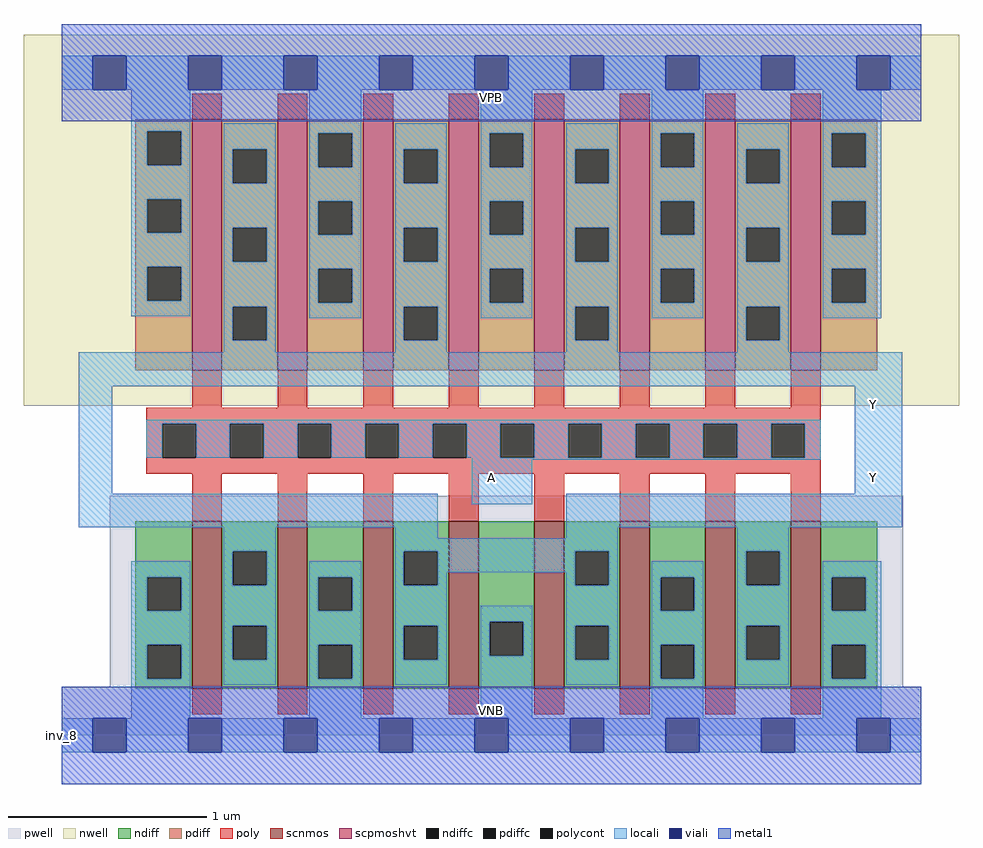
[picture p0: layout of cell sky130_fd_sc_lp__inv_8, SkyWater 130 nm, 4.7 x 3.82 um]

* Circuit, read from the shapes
.subckt sky130_fd_sc_lp__inv_8 A VGND VNB VPB VPWR Y
XM1 Y A VGND VNB sky130_fd_pr__nfet_01v8 w=0.84 l=0.15 m=8
XM2 Y A VPWR VPB sky130_fd_pr__pfet_01v8_hvt w=1.26 l=0.15 m=8
.ends

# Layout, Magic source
magic
tech sky130A
magscale 1 2
<< nwell >>
rect -38 331 902 704
<< pwell >>
rect 48 49 846 241
rect 0 0 864 49
<< scnmos >>
rect 131 47 161 215
rect 217 47 247 215
rect 303 47 333 215
rect 389 47 419 215
rect 475 47 505 215
rect 561 47 591 215
rect 647 47 677 215
rect 733 47 763 215
<< scpmoshvt >>
rect 131 367 161 619
rect 217 367 247 619
rect 303 367 333 619
rect 389 367 419 619
rect 475 367 505 619
rect 561 367 591 619
rect 647 367 677 619
rect 733 367 763 619
<< ndiff >>
rect 74 159 131 215
rect 74 125 86 159
rect 120 125 131 159
rect 74 91 131 125
rect 74 57 86 91
rect 120 57 131 91
rect 74 47 131 57
rect 161 185 217 215
rect 161 151 172 185
rect 206 151 217 185
rect 161 110 217 151
rect 161 76 172 110
rect 206 76 217 110
rect 161 47 217 76
rect 247 159 303 215
rect 247 125 258 159
rect 292 125 303 159
rect 247 91 303 125
rect 247 57 258 91
rect 292 57 303 91
rect 247 47 303 57
rect 333 185 389 215
rect 333 151 344 185
rect 378 151 389 185
rect 333 110 389 151
rect 333 76 344 110
rect 378 76 389 110
rect 333 47 389 76
rect 419 114 475 215
rect 419 80 430 114
rect 464 80 475 114
rect 419 47 475 80
rect 505 185 561 215
rect 505 151 516 185
rect 550 151 561 185
rect 505 110 561 151
rect 505 76 516 110
rect 550 76 561 110
rect 505 47 561 76
rect 591 159 647 215
rect 591 125 602 159
rect 636 125 647 159
rect 591 91 647 125
rect 591 57 602 91
rect 636 57 647 91
rect 591 47 647 57
rect 677 185 733 215
rect 677 151 688 185
rect 722 151 733 185
rect 677 110 733 151
rect 677 76 688 110
rect 722 76 733 110
rect 677 47 733 76
rect 763 159 820 215
rect 763 125 774 159
rect 808 125 820 159
rect 763 91 820 125
rect 763 57 774 91
rect 808 57 820 91
rect 763 47 820 57
<< pdiff >>
rect 74 607 131 619
rect 74 573 86 607
rect 120 573 131 607
rect 74 539 131 573
rect 74 505 86 539
rect 120 505 131 539
rect 74 471 131 505
rect 74 437 86 471
rect 120 437 131 471
rect 74 367 131 437
rect 161 589 217 619
rect 161 555 172 589
rect 206 555 217 589
rect 161 510 217 555
rect 161 476 172 510
rect 206 476 217 510
rect 161 431 217 476
rect 161 397 172 431
rect 206 397 217 431
rect 161 367 217 397
rect 247 605 303 619
rect 247 571 258 605
rect 292 571 303 605
rect 247 537 303 571
rect 247 503 258 537
rect 292 503 303 537
rect 247 469 303 503
rect 247 435 258 469
rect 292 435 303 469
rect 247 367 303 435
rect 333 589 389 619
rect 333 555 344 589
rect 378 555 389 589
rect 333 510 389 555
rect 333 476 344 510
rect 378 476 389 510
rect 333 431 389 476
rect 333 397 344 431
rect 378 397 389 431
rect 333 367 389 397
rect 419 605 475 619
rect 419 571 430 605
rect 464 571 475 605
rect 419 537 475 571
rect 419 503 430 537
rect 464 503 475 537
rect 419 469 475 503
rect 419 435 430 469
rect 464 435 475 469
rect 419 367 475 435
rect 505 589 561 619
rect 505 555 516 589
rect 550 555 561 589
rect 505 510 561 555
rect 505 476 516 510
rect 550 476 561 510
rect 505 431 561 476
rect 505 397 516 431
rect 550 397 561 431
rect 505 367 561 397
rect 591 605 647 619
rect 591 571 602 605
rect 636 571 647 605
rect 591 537 647 571
rect 591 503 602 537
rect 636 503 647 537
rect 591 469 647 503
rect 591 435 602 469
rect 636 435 647 469
rect 591 367 647 435
rect 677 589 733 619
rect 677 555 688 589
rect 722 555 733 589
rect 677 510 733 555
rect 677 476 688 510
rect 722 476 733 510
rect 677 431 733 476
rect 677 397 688 431
rect 722 397 733 431
rect 677 367 733 397
rect 763 605 820 619
rect 763 571 774 605
rect 808 571 820 605
rect 763 537 820 571
rect 763 503 774 537
rect 808 503 820 537
rect 763 469 820 503
rect 763 435 774 469
rect 808 435 820 469
rect 763 367 820 435
<< ndiffc >>
rect 86 125 120 159
rect 86 57 120 91
rect 172 151 206 185
rect 172 76 206 110
rect 258 125 292 159
rect 258 57 292 91
rect 344 151 378 185
rect 344 76 378 110
rect 430 80 464 114
rect 516 151 550 185
rect 516 76 550 110
rect 602 125 636 159
rect 602 57 636 91
rect 688 151 722 185
rect 688 76 722 110
rect 774 125 808 159
rect 774 57 808 91
<< pdiffc >>
rect 86 573 120 607
rect 86 505 120 539
rect 86 437 120 471
rect 172 555 206 589
rect 172 476 206 510
rect 172 397 206 431
rect 258 571 292 605
rect 258 503 292 537
rect 258 435 292 469
rect 344 555 378 589
rect 344 476 378 510
rect 344 397 378 431
rect 430 571 464 605
rect 430 503 464 537
rect 430 435 464 469
rect 516 555 550 589
rect 516 476 550 510
rect 516 397 550 431
rect 602 571 636 605
rect 602 503 636 537
rect 602 435 636 469
rect 688 555 722 589
rect 688 476 722 510
rect 688 397 722 431
rect 774 571 808 605
rect 774 503 808 537
rect 774 435 808 469
<< poly >>
rect 131 619 161 645
rect 217 619 247 645
rect 303 619 333 645
rect 389 619 419 645
rect 475 619 505 645
rect 561 619 591 645
rect 647 619 677 645
rect 733 619 763 645
rect 131 329 161 367
rect 217 329 247 367
rect 303 329 333 367
rect 389 329 419 367
rect 475 329 505 367
rect 561 329 591 367
rect 647 329 677 367
rect 733 329 763 367
rect 85 313 763 329
rect 85 279 101 313
rect 135 279 169 313
rect 203 279 237 313
rect 271 279 305 313
rect 339 279 373 313
rect 407 279 441 313
rect 475 279 509 313
rect 543 279 577 313
rect 611 279 645 313
rect 679 279 713 313
rect 747 279 763 313
rect 85 263 763 279
rect 131 215 161 263
rect 217 215 247 263
rect 303 215 333 263
rect 389 215 419 263
rect 475 215 505 263
rect 561 215 591 263
rect 647 215 677 263
rect 733 215 763 263
rect 131 21 161 47
rect 217 21 247 47
rect 303 21 333 47
rect 389 21 419 47
rect 475 21 505 47
rect 561 21 591 47
rect 647 21 677 47
rect 733 21 763 47
<< polycont >>
rect 101 279 135 313
rect 169 279 203 313
rect 237 279 271 313
rect 305 279 339 313
rect 373 279 407 313
rect 441 279 475 313
rect 509 279 543 313
rect 577 279 611 313
rect 645 279 679 313
rect 713 279 747 313
<< locali >>
rect 0 649 31 683
rect 65 649 127 683
rect 161 649 223 683
rect 257 649 319 683
rect 353 649 415 683
rect 449 649 511 683
rect 545 649 607 683
rect 641 649 703 683
rect 737 649 799 683
rect 833 649 864 683
rect 70 607 129 649
rect 70 573 86 607
rect 120 573 129 607
rect 70 539 129 573
rect 70 505 86 539
rect 120 505 129 539
rect 70 471 129 505
rect 70 437 86 471
rect 120 437 129 471
rect 70 421 129 437
rect 163 589 215 615
rect 163 555 172 589
rect 206 555 215 589
rect 163 510 215 555
rect 163 476 172 510
rect 206 476 215 510
rect 163 431 215 476
rect 163 397 172 431
rect 206 397 215 431
rect 249 605 301 649
rect 249 571 258 605
rect 292 571 301 605
rect 249 537 301 571
rect 249 503 258 537
rect 292 503 301 537
rect 249 469 301 503
rect 249 435 258 469
rect 292 435 301 469
rect 249 419 301 435
rect 335 589 387 615
rect 335 555 344 589
rect 378 555 387 589
rect 335 510 387 555
rect 335 476 344 510
rect 378 476 387 510
rect 335 431 387 476
rect 163 385 215 397
rect 335 397 344 431
rect 378 397 387 431
rect 421 605 473 649
rect 421 571 430 605
rect 464 571 473 605
rect 421 537 473 571
rect 421 503 430 537
rect 464 503 473 537
rect 421 469 473 503
rect 421 435 430 469
rect 464 435 473 469
rect 421 419 473 435
rect 507 589 559 615
rect 507 555 516 589
rect 550 555 559 589
rect 507 510 559 555
rect 507 476 516 510
rect 550 476 559 510
rect 507 431 559 476
rect 335 385 387 397
rect 507 397 516 431
rect 550 397 559 431
rect 593 605 645 649
rect 593 571 602 605
rect 636 571 645 605
rect 593 537 645 571
rect 593 503 602 537
rect 636 503 645 537
rect 593 469 645 503
rect 593 435 602 469
rect 636 435 645 469
rect 593 419 645 435
rect 679 589 731 615
rect 679 555 688 589
rect 722 555 731 589
rect 679 510 731 555
rect 679 476 688 510
rect 722 476 731 510
rect 679 431 731 476
rect 507 385 559 397
rect 679 397 688 431
rect 722 397 731 431
rect 765 605 824 649
rect 765 571 774 605
rect 808 571 824 605
rect 765 537 824 571
rect 765 503 774 537
rect 808 503 824 537
rect 765 469 824 503
rect 765 435 774 469
rect 808 435 824 469
rect 765 419 824 435
rect 679 385 731 397
rect 17 351 845 385
rect 17 243 51 351
rect 85 313 763 317
rect 85 279 101 313
rect 135 279 169 313
rect 203 279 237 313
rect 271 279 305 313
rect 339 279 373 313
rect 407 279 441 313
rect 475 279 509 313
rect 543 279 577 313
rect 611 279 645 313
rect 679 279 713 313
rect 747 279 763 313
rect 412 277 763 279
rect 17 209 378 243
rect 412 232 473 277
rect 797 243 845 351
rect 163 185 215 209
rect 70 159 129 175
rect 70 125 86 159
rect 120 125 129 159
rect 70 91 129 125
rect 70 57 86 91
rect 120 57 129 91
rect 70 17 129 57
rect 163 151 172 185
rect 206 151 215 185
rect 335 198 378 209
rect 507 209 845 243
rect 507 198 559 209
rect 335 185 559 198
rect 163 110 215 151
rect 163 76 172 110
rect 206 76 215 110
rect 163 51 215 76
rect 249 159 301 175
rect 249 125 258 159
rect 292 125 301 159
rect 249 91 301 125
rect 249 57 258 91
rect 292 57 301 91
rect 249 17 301 57
rect 335 151 344 185
rect 378 164 516 185
rect 378 151 387 164
rect 335 110 387 151
rect 507 151 516 164
rect 550 151 559 185
rect 679 185 731 209
rect 335 76 344 110
rect 378 76 387 110
rect 335 51 387 76
rect 421 114 473 130
rect 421 80 430 114
rect 464 80 473 114
rect 421 17 473 80
rect 507 110 559 151
rect 507 76 516 110
rect 550 76 559 110
rect 507 51 559 76
rect 593 159 645 175
rect 593 125 602 159
rect 636 125 645 159
rect 593 91 645 125
rect 593 57 602 91
rect 636 57 645 91
rect 593 17 645 57
rect 679 151 688 185
rect 722 151 731 185
rect 679 110 731 151
rect 679 76 688 110
rect 722 76 731 110
rect 679 51 731 76
rect 765 159 824 175
rect 765 125 774 159
rect 808 125 824 159
rect 765 91 824 125
rect 765 57 774 91
rect 808 57 824 91
rect 765 17 824 57
rect 0 -17 31 17
rect 65 -17 127 17
rect 161 -17 223 17
rect 257 -17 319 17
rect 353 -17 415 17
rect 449 -17 511 17
rect 545 -17 607 17
rect 641 -17 703 17
rect 737 -17 799 17
rect 833 -17 864 17
<< viali >>
rect 31 649 65 683
rect 127 649 161 683
rect 223 649 257 683
rect 319 649 353 683
rect 415 649 449 683
rect 511 649 545 683
rect 607 649 641 683
rect 703 649 737 683
rect 799 649 833 683
rect 31 -17 65 17
rect 127 -17 161 17
rect 223 -17 257 17
rect 319 -17 353 17
rect 415 -17 449 17
rect 511 -17 545 17
rect 607 -17 641 17
rect 703 -17 737 17
rect 799 -17 833 17
<< metal1 >>
rect 0 683 864 715
rect 0 649 31 683
rect 65 649 127 683
rect 161 649 223 683
rect 257 649 319 683
rect 353 649 415 683
rect 449 649 511 683
rect 545 649 607 683
rect 641 649 703 683
rect 737 649 799 683
rect 833 649 864 683
rect 0 617 864 649
rect 0 17 864 49
rect 0 -17 31 17
rect 65 -17 127 17
rect 161 -17 223 17
rect 257 -17 319 17
rect 353 -17 415 17
rect 449 -17 511 17
rect 545 -17 607 17
rect 641 -17 703 17
rect 737 -17 799 17
rect 833 -17 864 17
rect 0 -49 864 -17
<< labels >>
flabel pwell s 0 0 864 49 0 FreeSans 200 0 0 0 VNB
port 3 nsew ground bidirectional
flabel nwell s 0 617 864 666 0 FreeSans 200 0 0 0 VPB
port 4 nsew power bidirectional
rlabel comment s 0 0 0 0 4 inv_8
flabel metal1 s 0 617 864 666 0 FreeSans 340 0 0 0 VPWR
port 5 nsew power bidirectional
flabel metal1 s 0 0 864 49 0 FreeSans 340 0 0 0 VGND
port 2 nsew ground bidirectional
flabel locali s 415 242 449 276 0 FreeSans 340 0 0 0 A
port 1 nsew signal input
flabel locali s 799 242 833 276 0 FreeSans 340 0 0 0 Y
port 6 nsew signal output
flabel locali s 799 316 833 350 0 FreeSans 340 0 0 0 Y
port 6 nsew signal output
<< properties >>
string LEFsite unit
string LEFclass CORE
string FIXED_BBOX 0 0 864 666
string GDS_FILE $PDKPATH/libs.ref/sky130_fd_sc_lp/gds/sky130_fd_sc_lp.gds
string LEFsymmetry X Y R90
string GDS_END 4486962
string GDS_START 4479180
<< end >>
